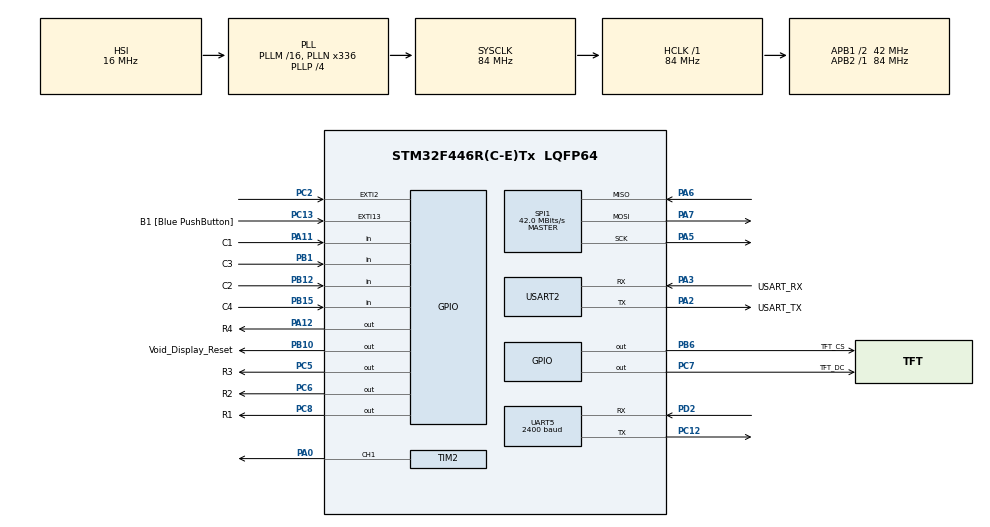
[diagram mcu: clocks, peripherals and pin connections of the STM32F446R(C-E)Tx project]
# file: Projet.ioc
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Dma.Request0=SPI1_TX
Dma.Request1=UART5_TX
Dma.SPI1_TX.0.Direction=DMA_MEMORY_TO_PERIPH
Dma.SPI1_TX.0.FIFOMode=DMA_FIFOMODE_DISABLE
Dma.SPI1_TX.0.Instance=DMA2_Stream3
Dma.SPI1_TX.0.MemDataAlignment=DMA_MDATAALIGN_BYTE
Dma.SPI1_TX.0.MemInc=DMA_MINC_ENABLE
Dma.SPI1_TX.0.Mode=DMA_NORMAL
Dma.SPI1_TX.0.PeriphDataAlignment=DMA_PDATAALIGN_BYTE
Dma.SPI1_TX.0.PeriphInc=DMA_PINC_DISABLE
Dma.SPI1_TX.0.Priority=DMA_PRIORITY_LOW
Dma.UART5_TX.1.Direction=DMA_MEMORY_TO_PERIPH
Dma.UART5_TX.1.FIFOMode=DMA_FIFOMODE_DISABLE
Dma.UART5_TX.1.Instance=DMA1_Stream7
Dma.UART5_TX.1.MemDataAlignment=DMA_MDATAALIGN_BYTE
Dma.UART5_TX.1.MemInc=DMA_MINC_ENABLE
Dma.UART5_TX.1.Mode=DMA_NORMAL
Dma.UART5_TX.1.PeriphDataAlignment=DMA_PDATAALIGN_BYTE
Dma.UART5_TX.1.PeriphInc=DMA_PINC_DISABLE
Dma.UART5_TX.1.Priority=DMA_PRIORITY_LOW
Mcu.Family=STM32F4
Mcu.Name=STM32F446R(C-E)Tx
Mcu.Package=LQFP64
NVIC.DMA1_Stream7_IRQn=true\:0\:0\:false\:false\:true\:false\:true\:true
NVIC.DMA2_Stream3_IRQn=true\:0\:0\:false\:false\:true\:false\:true\:true
NVIC.EXTI2_IRQn=true\:0\:0\:false\:false\:true\:true\:true\:true
NVIC.PriorityGroup=NVIC_PRIORITYGROUP_0
NVIC.SPI1_IRQn=true\:0\:0\:false\:false\:true\:true\:true\:true
PA0-WKUP.Signal=S_TIM2_CH1_ETR
PA11.GPIO_Label=C1
PA11.GPIO_PuPd=GPIO_PULLUP
PA11.Signal=GPIO_Input
PA12.GPIO_Label=R4
PA12.Signal=GPIO_Output
PA13.GPIO_Label=TMS
PA13.Mode=Serial_Wire
PA13.Signal=SYS_JTMS-SWDIO
PA14.GPIO_Label=TCK
PA14.Mode=Serial_Wire
PA14.Signal=SYS_JTCK-SWCLK
PA2.GPIO_Label=USART_TX
PA2.Mode=Asynchronous
PA2.Signal=USART2_TX
PA3.GPIO_Label=USART_RX
PA3.Mode=Asynchronous
PA3.Signal=USART2_RX
PA5.Mode=Full_Duplex_Master
PA5.Signal=SPI1_SCK
PA6.Mode=Full_Duplex_Master
PA6.Signal=SPI1_MISO
PA7.Mode=Full_Duplex_Master
PA7.Signal=SPI1_MOSI
PB1.GPIO_Label=C3
PB1.GPIO_PuPd=GPIO_PULLUP
PB1.Signal=GPIO_Input
PB10.GPIO_Label=Void_Display_Reset
PB10.Signal=GPIO_Output
PB12.GPIO_Label=C2
PB12.GPIO_PuPd=GPIO_PULLUP
PB12.Signal=GPIO_Input
PB15.GPIO_Label=C4
PB15.GPIO_PuPd=GPIO_PULLUP
PB15.Signal=GPIO_Input
PB3.GPIO_Label=SWO
PB3.Signal=SYS_JTDO-SWO
PB6.GPIO_Label=TFT_CS
PB6.Signal=GPIO_Output
PC12.Mode=Asynchronous
PC12.Signal=UART5_TX
PC13.GPIO_Label=B1 [Blue PushButton]
PC13.GPIO_ModeDefaultEXTI=GPIO_MODE_IT_FALLING
PC13.Signal=GPXTI13
PC14-OSC32_IN.Mode=LSE-External-Oscillator
PC14-OSC32_IN.Signal=RCC_OSC32_IN
PC15-OSC32_OUT.Mode=LSE-External-Oscillator
PC15-OSC32_OUT.Signal=RCC_OSC32_OUT
PC2.GPIO_ModeDefaultEXTI=GPIO_MODE_IT_RISING_FALLING
PC2.Signal=GPXTI2
PC5.GPIO_Label=R3
PC5.Signal=GPIO_Output
PC6.GPIO_Label=R2
PC6.Signal=GPIO_Output
PC7.GPIO_Label=TFT_DC
PC7.Signal=GPIO_Output
PC8.GPIO_Label=R1
PC8.Signal=GPIO_Output
PD2.Mode=Asynchronous
PD2.Signal=UART5_RX
PH0-OSC_IN.Mode=HSE-External-Oscillator
PH0-OSC_IN.Signal=RCC_OSC_IN
PH1-OSC_OUT.Mode=HSE-External-Oscillator
PH1-OSC_OUT.Signal=RCC_OSC_OUT
ProjectManager.HeapSize=0x200
ProjectManager.StackSize=0x400
ProjectManager.TargetToolchain=MDK-ARM V5.32
RCC.48MHZClocksFreq_Value=84000000
RCC.AHBFreq_Value=84000000
RCC.APB1CLKDivider=RCC_HCLK_DIV2
RCC.APB1Freq_Value=42000000
RCC.APB1TimFreq_Value=84000000
RCC.APB2Freq_Value=84000000
RCC.APB2TimFreq_Value=84000000
RCC.CortexFreq_Value=84000000
RCC.FLatency-AdvancedSettings=FLASH_LATENCY_2
RCC.HCLKFreq_Value=84000000
RCC.HSE_VALUE=8000000
RCC.HSI_VALUE=16000000
RCC.PLLN=336
RCC.PLLP=RCC_PLLP_DIV4
RCC.SYSCLKFreq_VALUE=84000000
RCC.SYSCLKSource=RCC_SYSCLKSOURCE_PLLCLK
RCC.USBFreq_Value=168000000
RCC.VCOOutputFreq_Value=336000000
SH.S_TIM2_CH1_ETR.0=TIM2_CH1,PWM Generation1 CH1
SPI1.BaudRatePrescaler=SPI_BAUDRATEPRESCALER_2
SPI1.CalculateBaudRate=42.0 MBits/s
SPI1.Direction=SPI_DIRECTION_2LINES
SPI1.Mode=SPI_MODE_MASTER
SPI1.VirtualType=VM_MASTER
TIM2.Channel-PWM\ Generation1\ CH1=TIM_CHANNEL_1
TIM2.Period=25
TIM2.Prescaler=83
TIM2.Pulse-PWM\ Generation1\ CH1=13
UART5.BaudRate=2400
UART5.VirtualMode=Asynchronous
USART2.VirtualMode=VM_ASYNC
VP_TIM12_VS_ClockSourceINT.Mode=Internal
VP_TIM1_VS_ClockSourceINT.Mode=Internal
VP_TIM2_VS_ClockSourceINT.Mode=Internal
board=NUCLEO-F446RE

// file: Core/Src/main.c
/* USER CODE BEGIN Header */
/**
  ******************************************************************************
  * @file           : main.c
  * @brief          : Main program body
  ******************************************************************************
  * @attention
  *
  * Copyright (c) 2023 STMicroelectronics.
  * All rights reserved.
  *
  * This software is licensed under terms that can be found in the LICENSE file
  * in the root directory of this software component.
  * If no LICENSE file comes with this software, it is provided AS-IS.
  *
  ******************************************************************************
  */
/* USER CODE END Header */
#include "main.h"
#include "dma.h"
#include "spi.h"
#include "tim.h"
#include "usart.h"
#include "gpio.h"

/* USER CODE BEGIN Includes */
#include "stdio.h"
#include "stdlib.h"

#include "ili9341.h"
#include "ili9341_gfx.h"

#include "guitar.h"
/* USER CODE END Includes */

/* USER CODE BEGIN PV */
// Game
int life;
int score;
unsigned char received_data;
// Screen
extern ili9341_t *_screen;

// Systick
volatile int frameUp = 1;
int timerFPS = 0;
float fps = 75; 	// 75ms (1 frame par 75ms)

extern volatile int nextNoteUp;
float tempoNextNote = 900;
extern volatile unsigned char voice1[];
extern volatile unsigned char voice2[];
extern volatile int current_time;
extern volatile struct Guitar guitar2;
int full_timer;
int PWM_on = 1;

// Ultrason
extern volatile float position_us; //TODO

/* USER CODE END PV */

void SystemClock_Config(void);
/* USER CODE BEGIN PFP */

void HAL_GPIO_EXTI_Callback(uint16_t GPIO_Pin)
{
	if (PWM_on == 1) {
		HAL_TIM_PWM_Stop(&htim2, TIM_CHANNEL_1);
		PWM_on =0;
	}
	else if (PWM_on == 0) {
		HAL_TIM_PWM_Start(&htim2, TIM_CHANNEL_1);
		PWM_on =1;
	}
}

/* USER CODE END PFP */

/* USER CODE BEGIN 0 */

void HAL_SYSTICK_Callback(void) {
	full_timer++;
	timerFPS++;

	if (timerFPS >= fps){
		frameUp = 1;
		timerFPS = 0;
	}
}

/* USER CODE END 0 */

int main(void)
{

  /* MCU Configuration--------------------------------------------------------*/

  /* Reset of all peripherals, Initializes the Flash interface and the Systick. */
  HAL_Init();

  /* Configure the system clock */
  SystemClock_Config();

  /* Initialize all configured peripherals */
  MX_GPIO_Init();
  MX_DMA_Init();
  MX_USART2_UART_Init();
  MX_SPI1_Init();
  MX_TIM1_Init();
  MX_TIM12_Init();
  MX_UART5_Init();
  MX_TIM2_Init();
  /* USER CODE BEGIN 2 */

	// Screen
	_screen = ili9341_new(
		&hspi1,
		Void_Display_Reset_GPIO_Port, Void_Display_Reset_Pin,
		TFT_CS_GPIO_Port, TFT_CS_Pin,
		TFT_DC_GPIO_Port, TFT_DC_Pin,
		isoLandscape,
		NULL,  NULL,
		NULL, NULL,
		itsNotSupported,
		itnNormalized);

unsigned char a = 0;
HAL_TIM_PWM_Start(&htim2, TIM_CHANNEL_1);

  /* USER CODE END 2 */

  /* Infinite loop */
  while (1)
  {

    /* USER CODE BEGIN 3 */
		initGame();
		el_condor();

		while(life) { 											//tant que life est plus grand que 0
			while(!frameUp) {									//On fait rien pendant 75 ms
				display_guitar(position_us) ; 	//A part afficher ou est placer le curseur du joueur
				// play the right frequency
			}
			frameUp = 0;
			next_state(); 										// si la note n'est pas la bonne on perd une vie, et si on est a la fin du tableau des voix on recommence

			//sending and receiving data
 			a = voice2[current_time+30]; 				// la note que est jouer maintenant est donner au joueur 2 pour la jouer comme prochaine note
			send_next(&a, sizeof(a)); 					// on envoi la note au joueur 2

			//received_data = 0;
			receive_next((unsigned char *)guitar2.note); 		// je joueur recois la note a jouer

			//add_notes_future((unsigned char *)voice2, received_data); // on ajouter la note pour current_time+30 (prochaine note a jouer)

			//affiche numerique prochaine note a jouer
			//displaying_test(received_data);   //affiche la note que est jouer pas le premier joueur dans le present

			display_score(); // affichage des notes a jouer
			display_guitar(position_us);
			display_guitar2((float) guitar2.posx);
		}
		gameOver();
  }
  /* USER CODE END 3 */
}

void SystemClock_Config(void)
{
  RCC_OscInitTypeDef RCC_OscInitStruct = {0};
  RCC_ClkInitTypeDef RCC_ClkInitStruct = {0};

  /** Configure the main internal regulator output voltage
  */
  __HAL_RCC_PWR_CLK_ENABLE();
  __HAL_PWR_VOLTAGESCALING_CONFIG(PWR_REGULATOR_VOLTAGE_SCALE3);

  /** Initializes the RCC Oscillators according to the specified parameters
  * in the RCC_OscInitTypeDef structure.
  */
  RCC_OscInitStruct.OscillatorType = RCC_OSCILLATORTYPE_HSI;
  RCC_OscInitStruct.HSIState = RCC_HSI_ON;
  RCC_OscInitStruct.HSICalibrationValue = RCC_HSICALIBRATION_DEFAULT;
  RCC_OscInitStruct.PLL.PLLState = RCC_PLL_ON;
  RCC_OscInitStruct.PLL.PLLSource = RCC_PLLSOURCE_HSI;
  RCC_OscInitStruct.PLL.PLLM = 16;
  RCC_OscInitStruct.PLL.PLLN = 336;
  RCC_OscInitStruct.PLL.PLLP = RCC_PLLP_DIV4;
  RCC_OscInitStruct.PLL.PLLQ = 2;
  RCC_OscInitStruct.PLL.PLLR = 2;
  if (HAL_RCC_OscConfig(&RCC_OscInitStruct) != HAL_OK)
  {
    Error_Handler();
  }

  /** Initializes the CPU, AHB and APB buses clocks
  */
  RCC_ClkInitStruct.ClockType = RCC_CLOCKTYPE_HCLK|RCC_CLOCKTYPE_SYSCLK
                              |RCC_CLOCKTYPE_PCLK1|RCC_CLOCKTYPE_PCLK2;
  RCC_ClkInitStruct.SYSCLKSource = RCC_SYSCLKSOURCE_PLLCLK;
  RCC_ClkInitStruct.AHBCLKDivider = RCC_SYSCLK_DIV1;
  RCC_ClkInitStruct.APB1CLKDivider = RCC_HCLK_DIV2;
  RCC_ClkInitStruct.APB2CLKDivider = RCC_HCLK_DIV1;

  if (HAL_RCC_ClockConfig(&RCC_ClkInitStruct, FLASH_LATENCY_2) != HAL_OK)
  {
    Error_Handler();
  }
}

void Error_Handler(void)
{
  __disable_irq();
  while (1)
  {
  }
}
